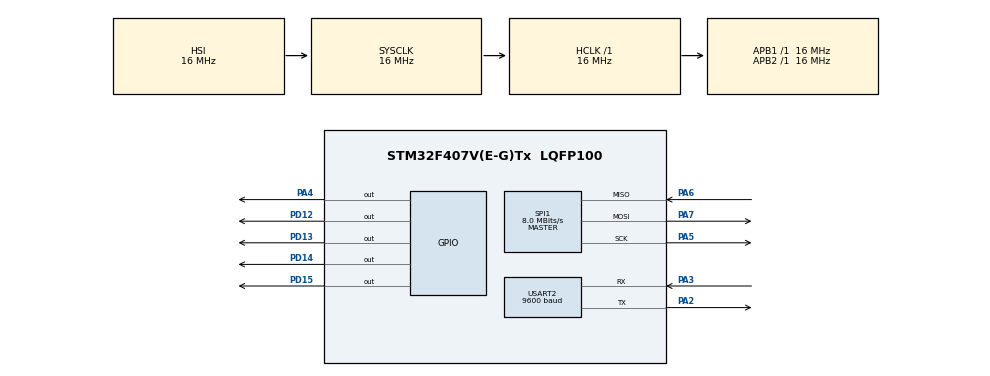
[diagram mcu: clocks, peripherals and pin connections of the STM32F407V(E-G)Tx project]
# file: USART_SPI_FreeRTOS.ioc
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FREERTOS.Tasks01=EmergencyLed,2,128,EmergencyLed_Handler,Default,NULL,Dynamic,NULL,NULL;ReadTemperature,3,128,ReadTemperature_Handler,Default,NULL,Dynamic,NULL,NULL
Mcu.Family=STM32F4
Mcu.Name=STM32F407V(E-G)Tx
Mcu.Package=LQFP100
NVIC.PriorityGroup=NVIC_PRIORITYGROUP_4
PA2.Mode=Asynchronous
PA2.Signal=USART2_TX
PA3.Mode=Asynchronous
PA3.Signal=USART2_RX
PA4.Signal=GPIO_Output
PA5.Mode=Full_Duplex_Master
PA5.Signal=SPI1_SCK
PA6.Mode=Full_Duplex_Master
PA6.Signal=SPI1_MISO
PA7.Mode=Full_Duplex_Master
PA7.Signal=SPI1_MOSI
PD12.Signal=GPIO_Output
PD13.Signal=GPIO_Output
PD14.Signal=GPIO_Output
PD15.Signal=GPIO_Output
ProjectManager.HeapSize=0x200
ProjectManager.StackSize=0x400
ProjectManager.TargetToolchain=STM32CubeIDE
RCC.AHBFreq_Value=16000000
RCC.APB1Freq_Value=16000000
RCC.APB2Freq_Value=16000000
RCC.CortexFreq_Value=16000000
RCC.HSE_VALUE=25000000
RCC.HSI_VALUE=16000000
RCC.LSE_VALUE=32768
RCC.SYSCLKFreq_VALUE=16000000
RCC.VCOOutputFreq_Value=192000000
SPI1.CLKPhase=SPI_PHASE_1EDGE
SPI1.CalculateBaudRate=8.0 MBits/s
SPI1.Direction=SPI_DIRECTION_2LINES
SPI1.Mode=SPI_MODE_MASTER
SPI1.VirtualType=VM_MASTER
USART2.BaudRate=9600
USART2.VirtualMode=VM_ASYNC
VP_FREERTOS_VS_CMSIS_V1.Mode=CMSIS_V1
board=custom

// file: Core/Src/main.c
/* USER CODE BEGIN Header */
/**
  ******************************************************************************
  * @file           : main.c
  * @brief          : Main program body
  ******************************************************************************
  * @attention
  *
  * <h2><center>&copy; Copyright (c) 2021 STMicroelectronics.
  * All rights reserved.</center></h2>
  *
  * This software component is licensed by ST under BSD 3-Clause license,
  * the "License"; You may not use this file except in compliance with the
  * License. You may obtain a copy of the License at:
  *                        opensource.org/licenses/BSD-3-Clause
  *
  ******************************************************************************
  */
/* USER CODE END Header */
#include "main.h"
#include "cmsis_os.h"

/* USER CODE BEGIN Includes */
#include "stdio.h"
#include "string.h"
/* USER CODE END Includes */

SPI_HandleTypeDef hspi1;

UART_HandleTypeDef huart2;

osThreadId EmergencyLedHandle;
osThreadId ReadTemperatureHandle;
/* USER CODE BEGIN PV */

char temperature=0;
char tx_message[100]={0};
uint16_t temp=0;
/* USER CODE END PV */

void SystemClock_Config(void);
static void MX_GPIO_Init(void);
static void MX_SPI1_Init(void);
static void MX_USART2_UART_Init(void);
void EmergencyLed_Handler(void const * argument);
void ReadTemperature_Handler(void const * argument);

/* USER CODE BEGIN PFP */
float Read_Temperature(uint16_t *);

/* USER CODE END PFP */

int main(void)
{

  /* MCU Configuration--------------------------------------------------------*/

  /* Reset of all peripherals, Initializes the Flash interface and the Systick. */
  HAL_Init();

  /* Configure the system clock */
  SystemClock_Config();

  /* Initialize all configured peripherals */
  MX_GPIO_Init();
  MX_SPI1_Init();
  MX_USART2_UART_Init();

  /* Create the thread(s) */
  /* definition and creation of EmergencyLed */
  osThreadDef(EmergencyLed, EmergencyLed_Handler, osPriorityHigh, 0, 128);
  EmergencyLedHandle = osThreadCreate(osThread(EmergencyLed), NULL);

  /* definition and creation of ReadTemperature */
  osThreadDef(ReadTemperature, ReadTemperature_Handler, osPriorityRealtime, 0, 128);
  ReadTemperatureHandle = osThreadCreate(osThread(ReadTemperature), NULL);

  /* Start scheduler */
  osKernelStart();

  /* We should never get here as control is now taken by the scheduler */
  /* Infinite loop */
  while (1)
  {

  }
}

void SystemClock_Config(void)
{
  RCC_OscInitTypeDef RCC_OscInitStruct = {0};
  RCC_ClkInitTypeDef RCC_ClkInitStruct = {0};

  /** Configure the main internal regulator output voltage
  */
  __HAL_RCC_PWR_CLK_ENABLE();
  __HAL_PWR_VOLTAGESCALING_CONFIG(PWR_REGULATOR_VOLTAGE_SCALE1);
  /** Initializes the RCC Oscillators according to the specified parameters
  * in the RCC_OscInitTypeDef structure.
  */
  RCC_OscInitStruct.OscillatorType = RCC_OSCILLATORTYPE_HSI;
  RCC_OscInitStruct.HSIState = RCC_HSI_ON;
  RCC_OscInitStruct.HSICalibrationValue = RCC_HSICALIBRATION_DEFAULT;
  RCC_OscInitStruct.PLL.PLLState = RCC_PLL_NONE;
  if (HAL_RCC_OscConfig(&RCC_OscInitStruct) != HAL_OK)
  {
    Error_Handler();
  }
  /** Initializes the CPU, AHB and APB buses clocks
  */
  RCC_ClkInitStruct.ClockType = RCC_CLOCKTYPE_HCLK|RCC_CLOCKTYPE_SYSCLK
                              |RCC_CLOCKTYPE_PCLK1|RCC_CLOCKTYPE_PCLK2;
  RCC_ClkInitStruct.SYSCLKSource = RCC_SYSCLKSOURCE_HSI;
  RCC_ClkInitStruct.AHBCLKDivider = RCC_SYSCLK_DIV1;
  RCC_ClkInitStruct.APB1CLKDivider = RCC_HCLK_DIV1;
  RCC_ClkInitStruct.APB2CLKDivider = RCC_HCLK_DIV1;

  if (HAL_RCC_ClockConfig(&RCC_ClkInitStruct, FLASH_LATENCY_0) != HAL_OK)
  {
    Error_Handler();
  }
}

static void MX_SPI1_Init(void)
{

  /* SPI1 parameter configuration*/
  hspi1.Instance = SPI1;
  hspi1.Init.Mode = SPI_MODE_MASTER;
  hspi1.Init.Direction = SPI_DIRECTION_2LINES;
  hspi1.Init.DataSize = SPI_DATASIZE_8BIT;
  hspi1.Init.CLKPolarity = SPI_POLARITY_LOW;
  hspi1.Init.CLKPhase = SPI_PHASE_1EDGE;
  hspi1.Init.NSS = SPI_NSS_SOFT;
  hspi1.Init.BaudRatePrescaler = SPI_BAUDRATEPRESCALER_2;
  hspi1.Init.FirstBit = SPI_FIRSTBIT_MSB;
  hspi1.Init.TIMode = SPI_TIMODE_DISABLE;
  hspi1.Init.CRCCalculation = SPI_CRCCALCULATION_DISABLE;
  hspi1.Init.CRCPolynomial = 10;
  if (HAL_SPI_Init(&hspi1) != HAL_OK)
  {
    Error_Handler();
  }

}

static void MX_USART2_UART_Init(void)
{

  huart2.Instance = USART2;
  huart2.Init.BaudRate = 9600;
  huart2.Init.WordLength = UART_WORDLENGTH_8B;
  huart2.Init.StopBits = UART_STOPBITS_1;
  huart2.Init.Parity = UART_PARITY_NONE;
  huart2.Init.Mode = UART_MODE_TX_RX;
  huart2.Init.HwFlowCtl = UART_HWCONTROL_NONE;
  huart2.Init.OverSampling = UART_OVERSAMPLING_16;
  if (HAL_UART_Init(&huart2) != HAL_OK)
  {
    Error_Handler();
  }

}

static void MX_GPIO_Init(void)
{
  GPIO_InitTypeDef GPIO_InitStruct = {0};

  /* GPIO Ports Clock Enable */
  __HAL_RCC_GPIOA_CLK_ENABLE();
  __HAL_RCC_GPIOD_CLK_ENABLE();

  /*Configure GPIO pin Output Level */
  HAL_GPIO_WritePin(GPIOA, GPIO_PIN_4, GPIO_PIN_RESET);

  /*Configure GPIO pin Output Level */
  HAL_GPIO_WritePin(GPIOD, GPIO_PIN_12|GPIO_PIN_13|GPIO_PIN_14|GPIO_PIN_15, GPIO_PIN_RESET);

  /*Configure GPIO pin : PA4 */
  GPIO_InitStruct.Pin = GPIO_PIN_4;
  GPIO_InitStruct.Mode = GPIO_MODE_OUTPUT_PP;
  GPIO_InitStruct.Pull = GPIO_NOPULL;
  GPIO_InitStruct.Speed = GPIO_SPEED_FREQ_LOW;
  HAL_GPIO_Init(GPIOA, &GPIO_InitStruct);

  /*Configure GPIO pins : PD12 PD13 PD14 PD15 */
  GPIO_InitStruct.Pin = GPIO_PIN_12|GPIO_PIN_13|GPIO_PIN_14|GPIO_PIN_15;
  GPIO_InitStruct.Mode = GPIO_MODE_OUTPUT_PP;
  GPIO_InitStruct.Pull = GPIO_NOPULL;
  GPIO_InitStruct.Speed = GPIO_SPEED_FREQ_LOW;
  HAL_GPIO_Init(GPIOD, &GPIO_InitStruct);

}

/* USER CODE BEGIN 4 */
float Read_Temperature(uint16_t * p)
{
	uint8_t value[2]={0};
	HAL_GPIO_WritePin(GPIOA, GPIO_PIN_4, GPIO_PIN_RESET);

	HAL_SPI_Receive(&hspi1, value, 2, 100);

    *p =(uint16_t) (value[1]>> 3);

	*p|=(uint16_t) (value[0]<< 5);

	HAL_GPIO_WritePin(GPIOA, GPIO_PIN_4, GPIO_PIN_SET);

	return 0.25 *(*p);;

}

/* USER CODE END 4 */

void EmergencyLed_Handler(void const * argument)
{
  /* USER CODE BEGIN 5 */
  osPriority ledp, tempp;
  /* Infinite loop */
  sprintf(tx_message,"emergency alert system is on..\n");
  HAL_UART_Transmit(&huart2, tx_message, strlen(tx_message), 1000);
  for(;;)
  {
	  HAL_GPIO_TogglePin(GPIOD, GPIO_PIN_12 |GPIO_PIN_13 |GPIO_PIN_14 |GPIO_PIN_15);
	  HAL_Delay(500);
      temperature=Read_Temperature(&temp);

     if(temperature<=40)
     {
    	 sprintf(tx_message,"emergency alert system is off..\n");
    	 HAL_UART_Transmit(&huart2, tx_message, strlen(tx_message), 1000);

    	 tempp=osThreadGetPriority(ReadTemperatureHandle);
    	 ledp=osThreadGetPriority(EmergencyLedHandle);

    	 osThreadSetPriority(EmergencyLedHandle, tempp);
    	 osThreadSetPriority(ReadTemperatureHandle,ledp);

     }
  }

  /* USER CODE END 5 */
}

void ReadTemperature_Handler(void const * argument)
{
  /* USER CODE BEGIN ReadTemperature_Handler */
	osPriority ledp, tempp;
    float t;
  /* Infinite loop */
  for(;;)
  {
      temperature=Read_Temperature(&temp);
     HAL_Delay(500);
     sprintf(tx_message,"\ntemperature:%d \n",temperature);

     HAL_UART_Transmit(&huart2, (uint8_t*)tx_message, strlen(tx_message), 1000);

     if(temperature>=40 )
     {
    	 tempp=osThreadGetPriority(ReadTemperatureHandle);
    	 ledp=osThreadGetPriority(EmergencyLedHandle);

    	 osThreadSetPriority(EmergencyLedHandle, tempp);
    	 osThreadSetPriority(ReadTemperatureHandle,ledp);

     }
  }
  /* USER CODE END ReadTemperature_Handler */
}

void Error_Handler(void)
{
  __disable_irq();
  while (1)
  {
  }
}

/************************ (C) COPYRIGHT STMicroelectronics *****END OF FILE****/
